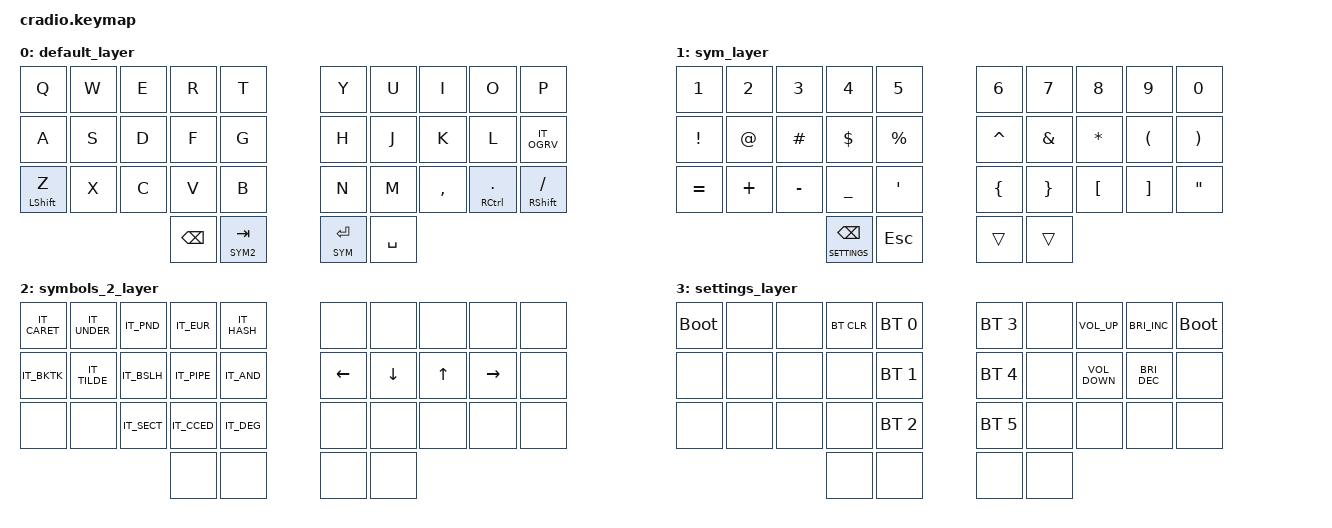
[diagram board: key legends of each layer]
/*
 * Copyright (c) 2020 The ZMK Contributors
 *
 * SPDX-License-Identifier: MIT
 */

#include <behaviors.dtsi>
#include <dt-bindings/zmk/keys.h>
#include <dt-bindings/zmk/bt.h>
#include "keymap_italian.h"

// Layer definitions
    #define BASE 0
    #define SYM 1
    #define SYM2 2
    #define SETTINGS 3
// -----------------

&mt {
   //  flavor = "tap-preferred";
   // tapping_term_ms = <200>;
};

&sk {
    ignore-modifiers;
};

/ {
		macros {
				// sometimes my device thinks a modifier is being held down
				// pressing all modifiers fixes it.
				unstick: unstick {
					label = "ZM_unstick";
					compatible = "zmk,behavior-macro";
					#binding-cells = <0>;
					bindings
						= <&kp LSHIFT &kp RSHIFT &kp LCTRL &kp RCTRL &kp LALT &kp RALT &kp LGUI &kp RGUI>;
				};

                /* switch_bt0_and_layer: switch_bt0_and_layer { */
                /*     label = "Switch to BT0 and toggle layer if needed"; */
                /*     compatible = "zmk,behavior-macro"; */
                /*     #binding-cells = <0>; */
                /*     bindings = <&tog_if_on SETTINGS &bt BT_SEL 0>; */
                /* }; */
		};

    combos {
        compatible = "zmk,combos";
				// both right thumb keys
        /* combo_accent { */
        /*     timeout-ms = <300>; */
        /*     key-positions = <32 33>; */
        /*     bindings = <&mo ACCENT>; */
        /* }; */
        // internal-left & external-right thumb keys
        /* combo_sym2 { */
        /* 		timeout-ms = <200>; */
        /* 		key-positions = <31 33>; */
        /* 		bindings = <&mo SYM2>; */
        /* }; */
        // both left thumb keys
        combo_settings {
                timeout-ms = <300>;
                key-positions = <32 33>;
                bindings = <&tog SETTINGS>;
        };
    };

    keymap {
            compatible = "zmk,keymap";

        // Base alpha layer
       		default_layer {
		bindings = <
		&kp Q &kp W &kp E &kp R &kp T           &kp Y &kp U  &kp I     &kp O   &kp P 
		&kp A &kp S &kp D &kp F &kp G           &kp H &kp J  &kp K     &kp L &kp IT_OGRV
		&mt LSHIFT Z &kp X &kp C &kp V &kp B           &kp N &kp M  &kp COMMA &mt RCTRL DOT &mt RSHIFT SLASH
             &kp BSPC &lt SYM2 TAB           &lt SYM RETURN &kp SPACE
		>;
		};

        // Numbers and high frequency symbols
       		sym_layer {
		bindings = <
		&kp N1 &kp N2 &kp N3 &kp N4 &kp N5		                                    &kp N6 &kp N7 &kp N8 &kp N9 &kp N0
		&kp EXCL &kp AT_SIGN &kp HASH &kp DLLR &kp PERCENT      &kp CARET &kp AMPS &kp STAR &kp LPAR &kp RPAR
		&kp EQUAL &kp PLUS &kp MINUS &kp UNDERSCORE &kp APOS 	&kp LBRC &kp RBRC &kp LBKT &kp RBKT &kp DQT
					                                        &lt SETTINGS BSPC  &kp ESC       &trans &trans
		>;
		};

        // Low frequency symbols.
       		symbols_2_layer {
		bindings = <
		&kp IT_CARET &kp IT_UNDER &kp IT_PND &kp IT_EUR &kp IT_HASH         &none &none &none &none &none 
		&kp IT_BKTK &kp IT_TILDE &kp IT_BSLH &kp IT_PIPE &kp IT_AND         &kp LEFT &kp DOWN &kp UP &kp RIGHT &none
		&none 			&none 			 &kp IT_SECT &kp IT_CCED &kp IT_DEG				  &none &none &none &none &none
          				           												&none &none        	&none &none 
		>;
		};


        // Used to change the keyboard's settings.
       		settings_layer {
		bindings = <
		&bootloader &none &none &bt BT_CLR &bt BT_SEL 0                   &bt BT_SEL 3 &none &kp C_VOLUME_UP &kp C_BRIGHTNESS_INC &bootloader 
		&none &none &none &none      &bt BT_SEL 1 						  &bt BT_SEL 4 &none &kp C_VOLUME_DOWN &kp C_BRIGHTNESS_DEC &none
		&none &none &none &none      &bt BT_SEL 2               &bt BT_SEL 5 &none &none &none &none
          				     &none &none                         &none &none 
		>;
		};
        
	};
};
